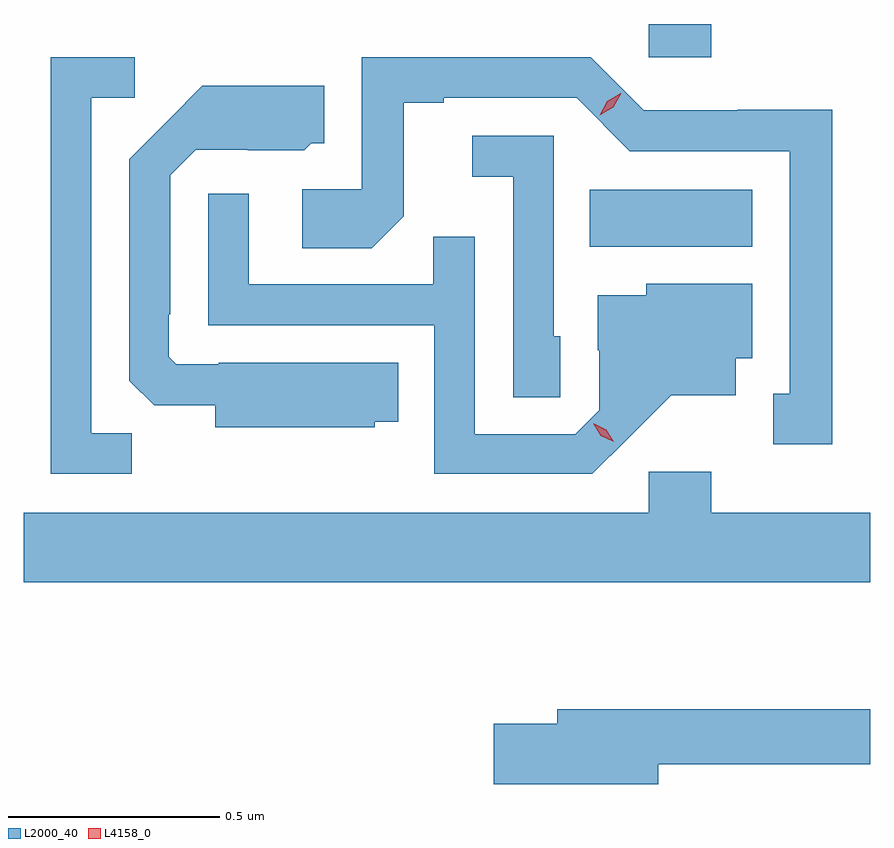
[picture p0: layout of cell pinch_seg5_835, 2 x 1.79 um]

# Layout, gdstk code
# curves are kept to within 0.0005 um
import gdstk
lib = gdstk.Library(unit=1e-6, precision=1e-09)
def R(c, l, rs):  # rectangles x0, y0, x1, y1
    for r in rs: c.add(gdstk.rectangle(r[:2], r[2:], *l))
def P(c, l, *ps):  # polygons
    for p in ps: c.add(gdstk.Polygon(p, *l))
L2000_40 = (2000, 40)
L4158_0 = (4158, 0)

pinch_seg5_835 = lib.new_cell('pinch_seg5_835')
R(pinch_seg5_835, L2000_40, [(768.514,890.852,768.898,890.986), (768.654,891.299,768.801,891.378)])
P(pinch_seg5_835, L2000_40, [(769.087,891.176),(768.864,891.176),(768.864,891.174),(768.642,891.174),(768.516,891.3),(767.976,891.3),(767.976,890.988),(767.835,890.988),(767.835,890.848),(767.999,890.848),(768.075,890.924),(768.075,891.192),(768.169,891.192),(768.169,891.204),(768.483,891.204),(768.609,891.078),(768.986,891.078),(768.986,890.505),(768.947,890.505),(768.947,890.385),(769.087,890.385)],
  [(767.433,890.411),(767.337,890.411),(767.337,891.204),(767.44,891.204),(767.44,891.3),(767.241,891.3),(767.241,890.316),(767.433,890.316)],
  [(768.006,890.438),(768.062,890.438),(768.062,890.578),(767.638,890.578),(767.638,890.574),(767.538,890.574),(767.52,890.592),(767.52,890.692),(767.523,890.692),(767.523,891.021),(767.583,891.081),(767.706,891.081),(767.706,891.08),(767.84,891.08),(767.856,891.096),(767.887,891.096),(767.887,891.232),(767.599,891.232),(767.427,891.058),(767.427,890.536),(767.486,890.477),(767.63,890.477),(767.63,890.426),(768.006,890.426)],
  [(768.444,890.64),(768.429,890.64),(768.429,891.114),(768.237,891.114),(768.237,891.017),(768.333,891.017),(768.333,890.497),(768.444,890.497)],
  [(768.604,890.399),(768.707,890.501),(768.859,890.501),(768.859,890.588),(768.898,890.588),(768.898,890.764),(768.648,890.764),(768.648,890.737),(768.533,890.737),(768.533,890.608),(768.537,890.608),(768.537,890.466),(768.48,890.409),(768.243,890.409),(768.243,890.876),(768.145,890.876),(768.145,890.763),(767.709,890.763),(767.709,890.977),(767.613,890.977),(767.613,890.667),(768.147,890.667),(768.147,890.316),(768.52,890.316)],
  [(769.177,890.224),(768.801,890.224),(768.801,890.32),(768.654,890.32),(768.654,890.224),(767.177,890.224),(767.177,890.06),(769.177,890.06)],
  [(768.676,889.63),(769.177,889.63),(769.177,889.759),(768.437,889.759),(768.437,889.725),(768.288,889.725),(768.288,889.583),(768.676,889.583)])
P(pinch_seg5_835, L4158_0, [(768.538,891.163),(768.538,891.163),(768.555,891.195),(768.587,891.214),(768.588,891.214),(768.588,891.214),(768.57,891.181),(768.538,891.163)],
  [(768.571,890.391),(768.54,890.405),(768.522,890.435),(768.522,890.435),(768.522,890.435),(768.553,890.42),(768.571,890.391),(768.571,890.391)])

lib.write_gds('pinch_seg5_835.gds')
